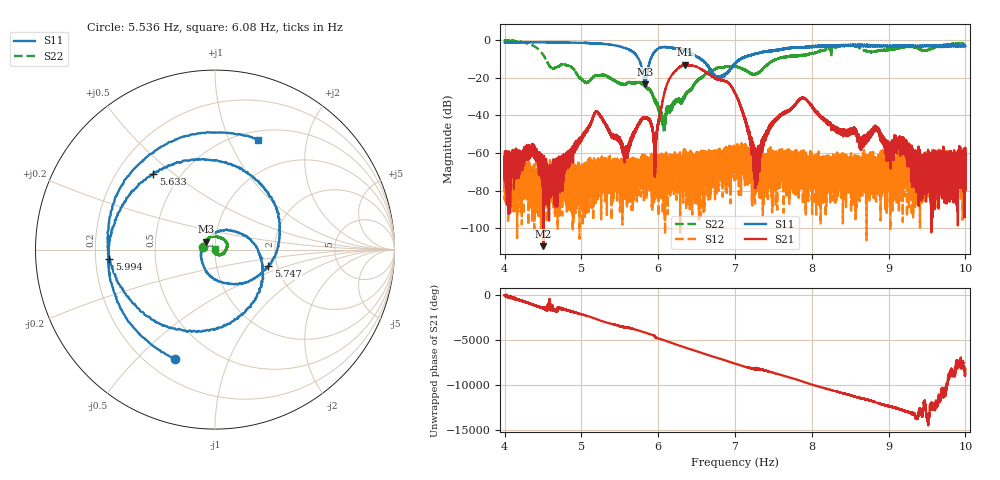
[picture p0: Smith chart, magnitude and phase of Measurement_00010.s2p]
!Created with skrf (http://scikit-rf.org).
# Hz S RI R 50.0
!freq ReS11 ImS11 ReS21 ImS21 ReS12 ImS12 ReS22 ImS22
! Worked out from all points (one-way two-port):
!   14001 points, 4 Hz to 10 Hz, reference 50 ohm
!   highest |S21| = -13.11 dB at 6.355 Hz (marker M1); lowest = -109.4 dB at 4.506 Hz (marker M2)
!   lowest |S11| = -23.5 dB at 5.833 Hz (marker M3), VSWR 1.14, Z = 45.1 + j3.96 ohm
!   |S11| at or under -10 dB: 5.745 Hz to 5.903 Hz (157.3 mHz wide, 2.7 % of centre); 6.558 Hz to 7.07 Hz (512.4 mHz wide, 7.52 % of centre); 7.070323 Hz to 7.073877 Hz (3.555 mHz wide, 0.0503 % of centre) (the widest 3 of 11)
!   |S22| runs from -49.0 to -0.2 dB; largest |S21 - S12| = 0.22
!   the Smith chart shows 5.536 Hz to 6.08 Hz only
!   S11 on the Smith chart (normalised r, x): 5.536 Hz: 0.31, -0.65; 5.633 Hz: 0.36, +0.42; 5.747 Hz: 1.80, -0.36; 5.994 Hz: 0.26, -0.04; 6.08 Hz: 0.60, +1.29
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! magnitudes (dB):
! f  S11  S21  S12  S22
! 4 Hz  -1.1  -62.0  -69.6  -0.2
! 4.354 Hz  -1.1  -60.5  -78.1  -2.6
! 4.506 Hz  -1.2  -109.4  -70.4  -8.1
! 4.645 Hz  -1.2  -67.5  -72.9  -14.9
! 5 Hz  -1.4  -52.0  -71.1  -20.7
! 5.204 Hz  -1.8  -37.9  -75.9  -18.9
! 5.536 Hz  -3.8  -56.3  -68.5  -23.2
! 5.633 Hz  -5.3  -53.4  -76.2  -22.5
! 5.747 Hz  -10.2  -44.2  -74.1  -22.4
! 5.833 Hz  -23.5  -41.5  -68.2  -24.5
! 5.953 Hz  -6.3  -57.7  -73.5  -31.4
! 5.994 Hz  -4.6  -45.2  -71.0  -35.3
! 6 Hz  -4.5  -44.2  -68.9  -35.4
! 6.08 Hz  -3.6  -28.3  -74.4  -46.9
! 6.355 Hz  -5.5  -13.1  -65.9  -29.3
! 6.775 Hz  -20.0  -21.0  -62.5  -14.8
! 7 Hz  -12.4  -28.0  -60.4  -14.1
! 7.281 Hz  -7.2  -67.3  -63.8  -17.8
! 7.538 Hz  -5.3  -42.4  -69.1  -10.2
! 8 Hz  -3.6  -34.9  -84.9  -6.9
! 9 Hz  -3.2  -58.4  -70.5  -5.1
! 10 Hz  -3.3  -69.3  -63.6  -3.1
